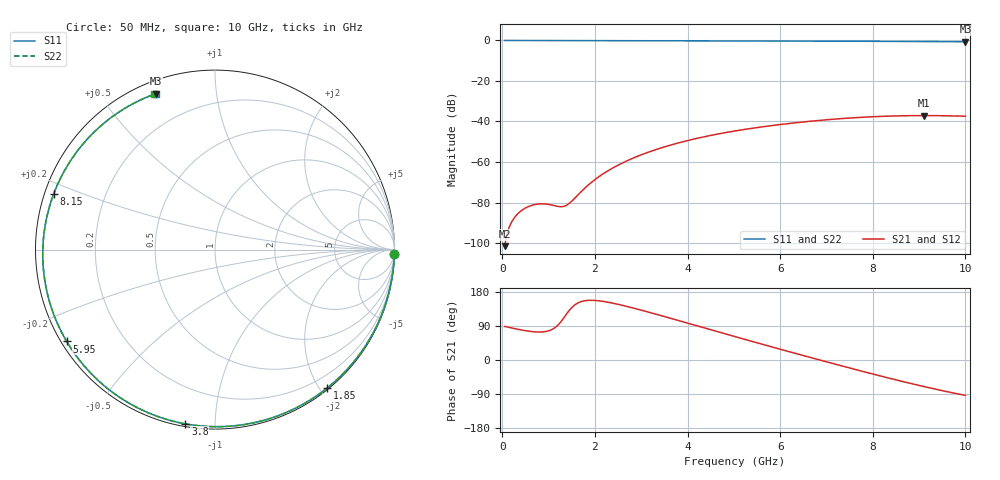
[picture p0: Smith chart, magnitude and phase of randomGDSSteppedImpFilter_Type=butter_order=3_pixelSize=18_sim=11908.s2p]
! freq	dB(S11)	phase(S11)	dB(S12)	phase(S12)
!  dB(S21)	phase(S21)	dB(S22)	phase(S22)
!S-par simulation data
#  GHz  S  DB  R 50
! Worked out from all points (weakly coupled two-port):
!   200 points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, 50 MHz to 10 GHz, reference 50 ohm
!   highest |S21| = -37.10 dB at 9.1 GHz (marker M1); lowest = -101.6 dB at 50 MHz (marker M2)
!   lowest |S11| = -0.6 dB at 10 GHz (marker M3), VSWR 27.18, Z = 2.71 + j34.4 ohm
!   |S11| at or under -10 dB: nowhere
!   |S22| runs from -0.6 to 0.0 dB; largest |S21 - S12| = 0
!   S11 on the Smith chart (normalised r, x): 50 MHz: 0, -80; 1.85 GHz: 0.02, -2.10; 3.8 GHz: 0.01, -0.84; 5.95 GHz: 0.02, -0.28; 8.15 GHz: 0.03, +0.17; 10 GHz: 0.05, +0.69
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0.05  -0.00 -1.4  -101.55 88.7  -101.55 88.7  -0.00 -1.4
0.4  -0.02 -11.3  -84.21 79.6  -84.21 79.6  -0.02 -11.3
0.75  -0.03 -21.1  -80.82 73.9  -80.82 73.9  -0.03 -21.0
1.45  -0.05 -40.3  -80.37 131.4  -80.37 131.4  -0.05 -40.3
1.5  -0.05 -41.6  -79.36 138.3  -79.36 138.3  -0.05 -41.6
1.75  -0.06 -48.3  -73.59 155.6  -73.59 155.6  -0.06 -48.3
1.85  -0.06 -51.0  -71.50 157.3  -71.50 157.3  -0.06 -51.0
2.15  -0.07 -58.8  -66.25 155.2  -66.25 155.2  -0.07 -58.8
2.5  -0.09 -67.8  -61.55 147.0  -61.55 147.0  -0.09 -67.8
2.9  -0.10 -77.9  -57.36 134.8  -57.36 134.8  -0.10 -77.9
3.4  -0.12 -90.1  -53.26 118.1  -53.26 118.1  -0.12 -90.1
3.8  -0.13 -99.7  -50.60 104.3  -50.60 104.3  -0.13 -99.6
4.4  -0.16 -113.6  -47.35 83.4  -47.35 83.4  -0.16 -113.5
5.05  -0.19 -128.3  -44.58 60.8  -44.58 60.8  -0.19 -128.2
5.95  -0.25 -148.2  -41.65 30.1  -41.65 30.1  -0.25 -148.1
6.7  -0.30 -165.0  -39.78 5.1  -39.78 5.1  -0.30 -164.8
7.45  -0.37 177.9  -38.37 -19.4  -38.37 -19.4  -0.37 178.1
8.15  -0.44 161.1  -37.51 -41.7  -37.51 -41.7  -0.44 161.4
8.35  -0.46 156.1  -37.35 -47.9  -37.35 -47.9  -0.46 156.4
9.1  -0.54 136.6  -37.10 -70.0  -37.10 -70.0  -0.54 136.9
9.55  -0.59 124.0  -37.18 -82.2  -37.18 -82.2  -0.59 124.4
10  -0.64 110.8  -37.40 -93.4  -37.40 -93.4  -0.64 111.3
